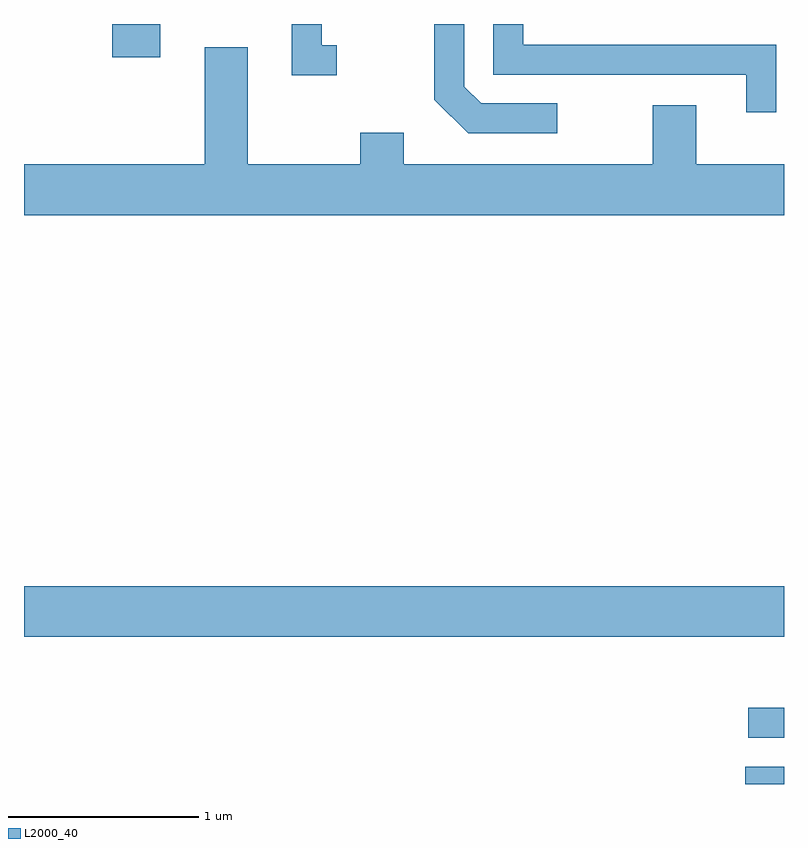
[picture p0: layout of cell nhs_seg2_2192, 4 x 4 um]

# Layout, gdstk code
import gdstk
lib = gdstk.Library(unit=1e-6, precision=1e-09)
def R(c, l, rs):  # rectangles x0, y0, x1, y1
    for r in rs: c.add(gdstk.rectangle(r[:2], r[2:], *l))
def P(c, l, *ps):  # polygons
    for p in ps: c.add(gdstk.Polygon(p, *l))
L2000_40 = (2000, 40)

nhs_seg2_2192 = lib.new_cell('nhs_seg2_2192')
R(nhs_seg2_2192, L2000_40, [(253.406,1009.802,253.611,1009.894), (253.423,1010.046,253.611,1010.204), (249.611,1010.576,253.611,1010.844), (250.076,1013.626,250.329,1013.802)])
P(nhs_seg2_2192, L2000_40, [(253.569,1013.694),(252.239,1013.694),(252.239,1013.802),(252.081,1013.802),(252.081,1013.536),(253.411,1013.536),(253.411,1013.338),(253.569,1013.338)],
  [(252.418,1013.384),(252.017,1013.384),(251.929,1013.472),(251.929,1013.802),(251.771,1013.802),(251.771,1013.404),(251.949,1013.226),(252.418,1013.226)],
  [(251.258,1013.689),(251.179,1013.689),(251.179,1013.802),(251.021,1013.802),(251.021,1013.531),(251.258,1013.531)],
  [(253.611,1013.064),(253.149,1013.064),(253.149,1013.374),(252.921,1013.374),(252.921,1013.064),(251.609,1013.064),(251.609,1013.229),(251.381,1013.229),(251.381,1013.064),(250.789,1013.064),(250.789,1013.679),(250.561,1013.679),(250.561,1013.064),(249.611,1013.064),(249.611,1012.796),(253.611,1012.796)])

lib.write_gds('nhs_seg2_2192.gds')
